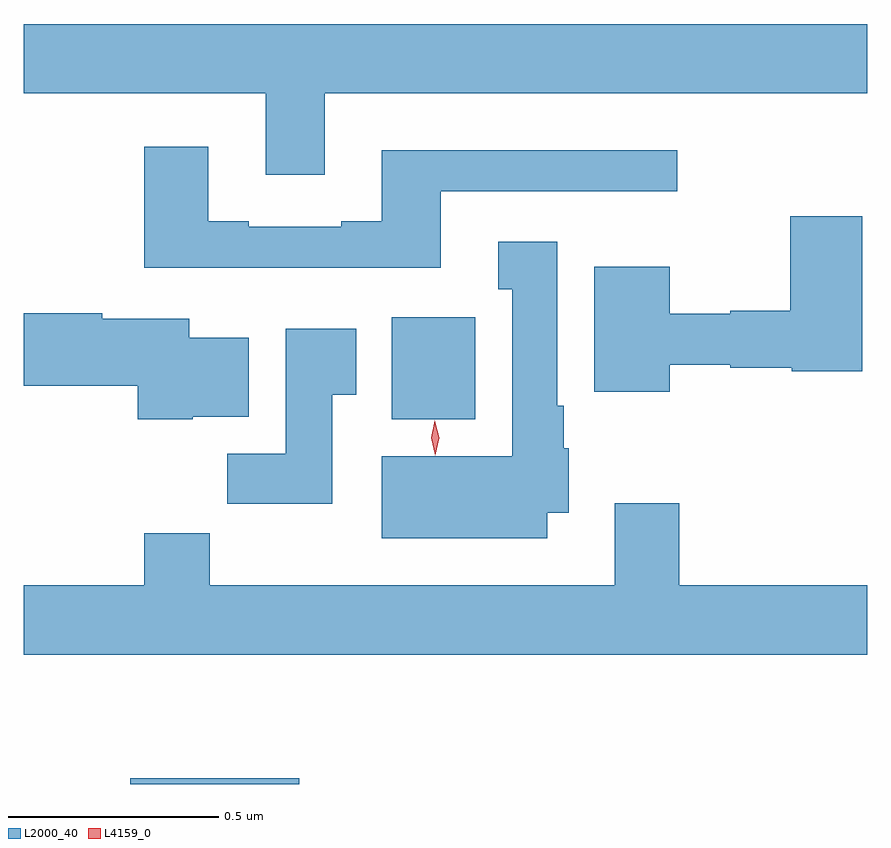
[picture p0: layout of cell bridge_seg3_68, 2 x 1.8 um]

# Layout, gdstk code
import gdstk
lib = gdstk.Library(unit=1e-6, precision=1e-09)
def R(c, l, rs):  # rectangles x0, y0, x1, y1
    for r in rs: c.add(gdstk.rectangle(r[:2], r[2:], *l))
def P(c, l, *ps):  # polygons
    for p in ps: c.add(gdstk.Polygon(p, *l))
L2000_40 = (2000, 40)
L4159_0 = (4159, 0)

bridge_seg3_68 = lib.new_cell('bridge_seg3_68')
R(bridge_seg3_68, L2000_40, [(544.286,701.941,544.687,701.955), (544.907,702.806,545.104,703.048)])
P(bridge_seg3_68, L2000_40, [(544.747,703.58),(546.034,703.58),(546.034,703.744),(544.034,703.744),(544.034,703.58),(544.607,703.58),(544.607,703.386),(544.747,703.386)],
  [(545.023,703.347),(545.584,703.347),(545.584,703.444),(544.883,703.444),(544.883,703.276),(544.787,703.276),(544.787,703.263),(544.567,703.263),(544.567,703.276),(544.471,703.276),(544.471,703.453),(544.319,703.453),(544.319,703.166),(545.023,703.166)],
  [(545.566,702.936),(545.709,702.936),(545.709,702.928),(545.856,702.928),(545.856,702.92),(546.023,702.92),(546.023,703.288),(545.852,703.288),(545.852,703.064),(545.709,703.064),(545.709,703.057),(545.566,703.057),(545.566,703.168),(545.387,703.168),(545.387,702.872),(545.566,702.872)],
  [(545.275,702.584),(545.326,702.584),(545.326,702.738),(545.314,702.738),(545.314,702.838),(545.299,702.838),(545.299,703.228),(545.159,703.228),(545.159,703.115),(545.192,703.115),(545.192,702.718),(544.883,702.718),(544.883,702.524),(545.275,702.524)],
  [(544.434,702.812),(544.567,702.812),(544.567,703),(544.426,703),(544.426,703.045),(544.22,703.045),(544.22,703.058),(544.034,703.058),(544.034,702.886),(544.304,702.886),(544.304,702.806),(544.434,702.806)],
  [(544.765,702.865),(544.822,702.865),(544.822,703.021),(544.655,703.021),(544.655,702.724),(544.516,702.724),(544.516,702.606),(544.765,702.606)],
  [(546.034,702.412),(545.588,702.412),(545.588,702.607),(545.435,702.607),(545.435,702.412),(544.475,702.412),(544.475,702.536),(544.319,702.536),(544.319,702.412),(544.034,702.412),(544.034,702.248),(546.034,702.248)])
P(bridge_seg3_68, L4159_0, [(545.01,702.721),(545.01,702.721),(545,702.762),(545.009,702.803),(545.009,702.804),(545.009,702.803),(545.019,702.762),(545.01,702.721)])

lib.write_gds('bridge_seg3_68.gds')
